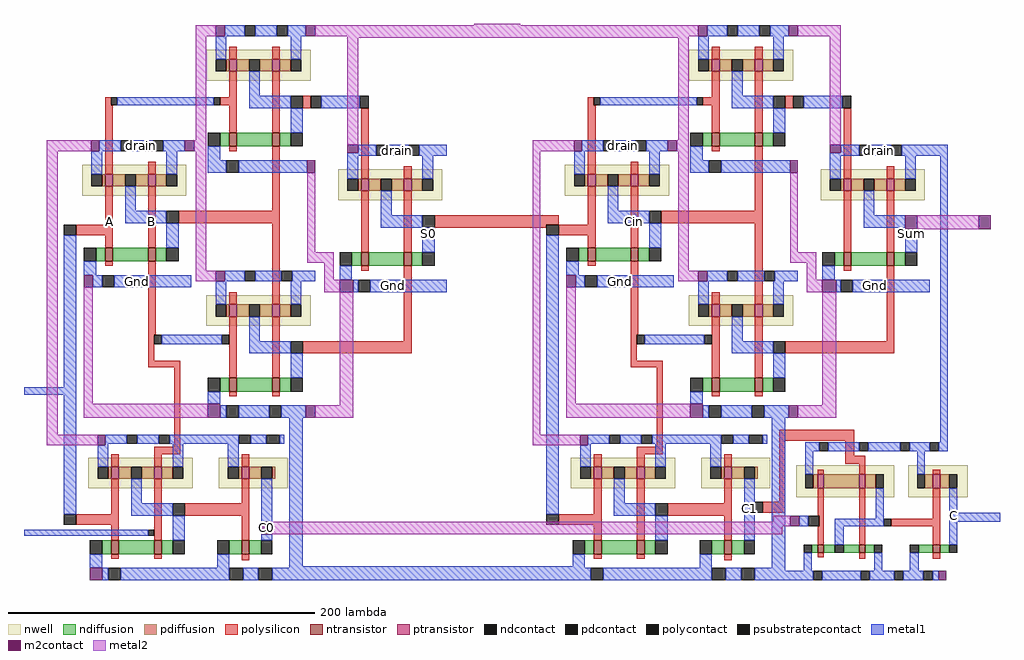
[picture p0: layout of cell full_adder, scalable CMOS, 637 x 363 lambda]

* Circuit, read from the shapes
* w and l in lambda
.subckt full_adder A B C C0 C1 Cin Gnd S0 Sum drain
M1 n1 A Gnd Gnd nfet w=9 l=5
M2 n2 A Gnd Gnd nfet w=9 l=5
M3 n3 B n1 Gnd nfet w=9 l=5
M4 n4 B n2 Gnd nfet w=9 l=5
M5 n5 B Gnd Gnd nfet w=9 l=5
M6 n6 A Gnd Gnd nfet w=9 l=5
M7 C0 n4 Gnd Gnd nfet w=9 l=5
M8 n7 n3 n5 Gnd nfet w=9 l=5
M9 n8 n3 n6 Gnd nfet w=9 l=5
M10 n9 n8 Gnd Gnd nfet w=9 l=5
M11 S0 n7 n9 Gnd nfet w=9 l=5
M12 n10 S0 Gnd Gnd nfet w=9 l=5
M13 n11 S0 Gnd Gnd nfet w=9 l=5
M14 n12 Cin n10 Gnd nfet w=9 l=5
M15 n13 Cin n11 Gnd nfet w=9 l=5
M16 n14 Cin Gnd Gnd nfet w=9 l=5
M17 n15 S0 Gnd Gnd nfet w=9 l=5
M18 C1 n13 Gnd Gnd nfet w=9 l=5
M19 n16 n12 n14 Gnd nfet w=9 l=5
M20 n17 n12 n15 Gnd nfet w=9 l=5
M21 n18 C0 Gnd Gnd nfet w=5 l=4
M22 n19 n17 Gnd Gnd nfet w=9 l=5
M23 Gnd C1 n18 Gnd nfet w=5 l=4
M24 Sum n16 n19 Gnd nfet w=9 l=5
M25 C n18 Gnd Gnd nfet w=5 l=5
M26 n3 A drain n20 pfet w=8 l=5
M27 n4 A drain n21 pfet w=8 l=5
M28 drain B n3 n20 pfet w=8 l=5
M29 drain B n4 n21 pfet w=8 l=5
M30 n7 B drain n22 pfet w=8 l=5
M31 n8 A drain n23 pfet w=8 l=5
M32 C0 n4 drain n24 pfet w=8 l=5
M33 drain n3 n7 n22 pfet w=8 l=5
M34 drain n3 n8 n23 pfet w=8 l=5
M35 S0 n8 drain n25 pfet w=8 l=5
M36 drain n7 S0 n25 pfet w=8 l=5
M37 n12 S0 drain n26 pfet w=8 l=5
M38 n13 S0 drain n27 pfet w=8 l=5
M39 drain Cin n12 n26 pfet w=8 l=5
M40 drain Cin n13 n27 pfet w=8 l=5
M41 n16 Cin drain n28 pfet w=8 l=5
M42 n17 S0 drain n29 pfet w=8 l=5
M43 C1 n13 drain n30 pfet w=8 l=5
M44 drain n12 n16 n28 pfet w=8 l=5
M45 drain n12 n17 n29 pfet w=8 l=5
M46 n31 C0 drain n32 pfet w=9 l=4
M47 Sum n17 drain n33 pfet w=8 l=5
M48 n18 C1 n31 n32 pfet w=9 l=4
M49 drain n16 Sum n33 pfet w=8 l=5
M50 C n18 drain n34 pfet w=9 l=5
.ends

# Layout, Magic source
magic
tech scmos
<< nwell >>
rect 790 405 858 425
rect 1105 405 1173 425
rect 709 330 777 350
rect 876 327 944 347
rect 1024 330 1092 350
rect 1191 327 1259 347
rect 790 245 858 265
rect 1105 245 1173 265
rect 713 139 781 159
rect 798 139 843 159
rect 1028 139 1096 159
rect 1113 139 1158 159
rect 1175 133 1239 154
rect 1248 133 1287 154
<< ntransistor >>
rect 805 362 810 371
rect 833 362 838 371
rect 1120 362 1125 371
rect 1148 362 1153 371
rect 724 287 729 296
rect 752 287 757 296
rect 891 284 896 293
rect 919 284 924 293
rect 1039 287 1044 296
rect 1067 287 1072 296
rect 1206 284 1211 293
rect 1234 284 1239 293
rect 805 202 810 211
rect 833 202 838 211
rect 1120 202 1125 211
rect 1148 202 1153 211
rect 728 96 733 105
rect 756 96 761 105
rect 813 96 818 105
rect 1043 96 1048 105
rect 1071 96 1076 105
rect 1128 96 1133 105
rect 1189 97 1193 102
rect 1216 97 1220 102
rect 1264 97 1269 102
<< ptransistor >>
rect 805 411 810 419
rect 833 411 838 419
rect 1120 411 1125 419
rect 1148 411 1153 419
rect 724 336 729 344
rect 752 336 757 344
rect 891 333 896 341
rect 919 333 924 341
rect 1039 336 1044 344
rect 1067 336 1072 344
rect 1206 333 1211 341
rect 1234 333 1239 341
rect 805 251 810 259
rect 833 251 838 259
rect 1120 251 1125 259
rect 1148 251 1153 259
rect 728 145 733 153
rect 756 145 761 153
rect 813 145 818 153
rect 1043 145 1048 153
rect 1071 145 1076 153
rect 1128 145 1133 153
rect 1189 139 1193 148
rect 1216 139 1220 148
rect 1264 139 1269 148
<< ndiffusion >>
rect 799 362 805 371
rect 810 362 833 371
rect 838 362 845 371
rect 1114 362 1120 371
rect 1125 362 1148 371
rect 1153 362 1160 371
rect 718 287 724 296
rect 729 287 752 296
rect 757 287 764 296
rect 885 284 891 293
rect 896 284 919 293
rect 924 284 931 293
rect 1033 287 1039 296
rect 1044 287 1067 296
rect 1072 287 1079 296
rect 1200 284 1206 293
rect 1211 284 1234 293
rect 1239 284 1246 293
rect 799 202 805 211
rect 810 202 833 211
rect 838 202 845 211
rect 1114 202 1120 211
rect 1125 202 1148 211
rect 1153 202 1160 211
rect 722 96 728 105
rect 733 96 756 105
rect 761 96 768 105
rect 805 96 813 105
rect 818 96 826 105
rect 1037 96 1043 105
rect 1048 96 1071 105
rect 1076 96 1083 105
rect 1120 96 1128 105
rect 1133 96 1141 105
rect 1185 97 1189 102
rect 1193 97 1200 102
rect 1206 97 1216 102
rect 1220 97 1226 102
rect 1255 97 1264 102
rect 1269 97 1275 102
<< pdiffusion >>
rect 803 411 805 419
rect 810 411 818 419
rect 825 411 833 419
rect 838 411 845 419
rect 1118 411 1120 419
rect 1125 411 1133 419
rect 1140 411 1148 419
rect 1153 411 1160 419
rect 722 336 724 344
rect 729 336 737 344
rect 744 336 752 344
rect 757 336 764 344
rect 889 333 891 341
rect 896 333 904 341
rect 911 333 919 341
rect 924 333 931 341
rect 1037 336 1039 344
rect 1044 336 1052 344
rect 1059 336 1067 344
rect 1072 336 1079 344
rect 1204 333 1206 341
rect 1211 333 1219 341
rect 1226 333 1234 341
rect 1239 333 1246 341
rect 803 251 805 259
rect 810 251 818 259
rect 825 251 833 259
rect 838 251 845 259
rect 1118 251 1120 259
rect 1125 251 1133 259
rect 1140 251 1148 259
rect 1153 251 1160 259
rect 726 145 728 153
rect 733 145 741 153
rect 748 145 756 153
rect 761 145 768 153
rect 811 145 813 153
rect 818 145 826 153
rect 833 145 835 153
rect 1041 145 1043 153
rect 1048 145 1056 153
rect 1063 145 1071 153
rect 1076 145 1083 153
rect 1126 145 1128 153
rect 1133 145 1141 153
rect 1148 145 1150 153
rect 1186 139 1189 148
rect 1193 139 1216 148
rect 1220 139 1227 148
rect 1259 139 1264 148
rect 1269 139 1275 148
<< ndcontact >>
rect 815 434 822 441
rect 836 434 843 441
rect 1130 434 1137 441
rect 1151 434 1158 441
rect 734 359 741 366
rect 755 359 762 366
rect 791 362 799 371
rect 845 362 853 371
rect 901 356 908 363
rect 922 356 929 363
rect 1049 359 1056 366
rect 1070 359 1077 366
rect 1106 362 1114 371
rect 1160 362 1168 371
rect 710 287 718 296
rect 764 287 772 296
rect 815 274 822 281
rect 1216 356 1223 363
rect 1237 356 1244 363
rect 877 284 885 293
rect 931 284 939 293
rect 1025 287 1033 296
rect 1079 287 1087 296
rect 839 274 846 281
rect 738 168 745 174
rect 759 168 766 174
rect 1130 274 1137 281
rect 1192 284 1200 293
rect 1246 284 1254 293
rect 1154 274 1161 281
rect 791 202 799 211
rect 845 202 853 211
rect 811 168 819 174
rect 829 168 838 174
rect 1053 168 1060 174
rect 1074 168 1081 174
rect 1106 202 1114 211
rect 1160 202 1168 211
rect 1126 168 1134 174
rect 1144 168 1153 174
rect 1190 163 1196 169
rect 1216 163 1222 169
rect 1243 163 1249 169
rect 1262 163 1268 169
rect 714 96 722 105
rect 768 96 776 105
rect 797 96 805 105
rect 826 96 833 105
rect 1029 96 1037 105
rect 1083 96 1091 105
rect 1112 96 1120 105
rect 1141 96 1148 105
rect 1180 97 1185 102
rect 1200 97 1206 102
rect 1226 97 1231 102
rect 1249 97 1255 102
rect 1275 97 1280 102
<< pdcontact >>
rect 796 411 803 419
rect 818 411 825 419
rect 845 411 852 419
rect 1111 411 1118 419
rect 1133 411 1140 419
rect 1160 411 1167 419
rect 715 336 722 344
rect 737 336 744 344
rect 764 336 771 344
rect 882 333 889 341
rect 904 333 911 341
rect 931 333 938 341
rect 1030 336 1037 344
rect 1052 336 1059 344
rect 1079 336 1086 344
rect 1197 333 1204 341
rect 1219 333 1226 341
rect 1246 333 1253 341
rect 796 251 803 259
rect 818 251 825 259
rect 845 251 852 259
rect 1111 251 1118 259
rect 1133 251 1140 259
rect 1160 251 1167 259
rect 719 145 726 153
rect 741 145 748 153
rect 768 145 775 153
rect 804 145 811 153
rect 826 145 833 153
rect 1034 145 1041 153
rect 1056 145 1063 153
rect 1083 145 1090 153
rect 1119 145 1126 153
rect 1141 145 1148 153
rect 1181 139 1186 148
rect 1227 139 1232 148
rect 1254 139 1259 148
rect 1275 139 1280 148
rect 1186 79 1192 85
rect 1217 79 1223 85
rect 1239 79 1245 85
rect 1258 79 1264 85
<< psubstratepcontact >>
rect 803 345 811 353
rect 1118 345 1126 353
rect 722 270 730 278
rect 889 267 897 275
rect 1037 270 1045 278
rect 1204 267 1212 275
rect 803 185 811 193
rect 831 185 839 193
rect 1118 185 1126 193
rect 1146 185 1154 193
rect 726 79 734 87
rect 805 79 814 87
rect 824 79 833 87
rect 1041 79 1049 87
rect 1120 79 1129 87
rect 1139 79 1148 87
<< polysilicon >>
rect 805 419 810 427
rect 833 419 838 427
rect 1120 419 1125 427
rect 1148 419 1153 427
rect 805 394 810 411
rect 724 389 728 394
rect 799 389 810 394
rect 724 344 729 389
rect 805 371 810 389
rect 833 371 838 411
rect 853 387 858 395
rect 1120 394 1125 411
rect 805 359 810 362
rect 752 344 757 352
rect 724 311 729 336
rect 705 304 729 311
rect 724 296 729 304
rect 752 296 757 336
rect 833 320 838 362
rect 891 341 896 387
rect 1039 389 1043 394
rect 1114 389 1125 394
rect 919 341 924 349
rect 1039 344 1044 389
rect 1120 371 1125 389
rect 1148 371 1153 411
rect 1168 387 1173 395
rect 1120 359 1125 362
rect 1067 344 1072 352
rect 772 312 838 320
rect 724 284 729 287
rect 752 239 757 287
rect 805 259 810 267
rect 833 259 838 312
rect 891 293 896 333
rect 919 293 924 333
rect 939 311 1020 317
rect 1039 311 1044 336
rect 939 309 1012 311
rect 1020 304 1044 311
rect 1039 296 1044 304
rect 1067 296 1072 336
rect 1148 320 1153 362
rect 1206 341 1211 387
rect 1234 341 1239 349
rect 1087 312 1153 320
rect 1039 284 1044 287
rect 891 281 896 284
rect 752 222 756 239
rect 752 218 773 222
rect 769 166 773 218
rect 805 211 810 251
rect 833 211 838 251
rect 919 235 924 284
rect 853 227 924 235
rect 1067 239 1072 287
rect 1120 259 1125 267
rect 1148 259 1153 312
rect 1206 293 1211 333
rect 1234 293 1239 333
rect 1206 281 1211 284
rect 1067 222 1071 239
rect 1067 218 1088 222
rect 805 199 810 202
rect 833 199 838 202
rect 1084 166 1088 218
rect 1120 211 1125 251
rect 1148 211 1153 251
rect 1234 235 1239 284
rect 1168 227 1239 235
rect 1120 199 1125 202
rect 1148 199 1153 202
rect 1164 170 1213 177
rect 756 161 773 166
rect 1071 161 1088 166
rect 728 153 733 161
rect 756 153 761 161
rect 813 153 818 161
rect 1043 153 1048 161
rect 1071 153 1076 161
rect 1128 153 1133 161
rect 728 122 733 145
rect 705 115 733 122
rect 728 105 733 115
rect 756 105 761 145
rect 813 129 818 145
rect 776 121 818 129
rect 1043 122 1048 145
rect 813 105 818 121
rect 1020 115 1048 122
rect 1043 105 1048 115
rect 1071 105 1076 145
rect 1128 129 1133 145
rect 1164 130 1168 170
rect 1207 160 1213 170
rect 1207 155 1220 160
rect 1189 148 1193 151
rect 1216 148 1220 155
rect 1264 148 1269 151
rect 1091 121 1133 129
rect 1153 123 1168 130
rect 1189 121 1193 139
rect 1128 105 1133 121
rect 1190 114 1193 121
rect 1189 102 1193 114
rect 1216 102 1220 139
rect 1264 119 1269 139
rect 1237 114 1269 119
rect 1264 102 1269 114
rect 728 93 733 96
rect 756 93 761 96
rect 813 92 818 96
rect 1043 93 1048 96
rect 1071 93 1076 96
rect 1128 92 1133 96
rect 1189 94 1193 97
rect 1216 93 1220 97
rect 1264 93 1269 97
<< polycontact >>
rect 728 389 732 394
rect 795 389 799 394
rect 845 387 853 395
rect 858 387 865 395
rect 890 387 896 395
rect 697 304 705 311
rect 1043 389 1047 394
rect 1110 389 1114 394
rect 1160 387 1168 395
rect 1173 387 1180 395
rect 1205 387 1211 395
rect 764 312 772 320
rect 931 309 939 317
rect 1012 304 1020 311
rect 1079 312 1087 320
rect 756 233 761 239
rect 800 233 805 239
rect 845 227 853 235
rect 1071 233 1076 239
rect 1115 233 1120 239
rect 1160 227 1168 235
rect 697 115 705 122
rect 752 108 756 112
rect 768 121 776 129
rect 1012 115 1020 122
rect 1083 121 1091 129
rect 1148 123 1153 130
rect 1183 114 1190 121
rect 1232 114 1237 119
<< metal1 >>
rect 802 434 815 441
rect 822 434 836 441
rect 843 434 855 441
rect 1117 434 1130 441
rect 1137 434 1151 441
rect 1158 434 1170 441
rect 796 419 803 434
rect 845 419 852 434
rect 1111 419 1118 434
rect 1160 419 1167 434
rect 818 395 825 411
rect 1133 395 1140 411
rect 732 389 795 394
rect 818 387 845 395
rect 865 387 890 395
rect 1047 389 1110 394
rect 1133 387 1160 395
rect 1180 387 1205 395
rect 845 371 853 387
rect 1160 371 1168 387
rect 720 359 734 366
rect 741 359 755 366
rect 762 359 776 366
rect 715 344 722 359
rect 764 344 771 359
rect 791 353 799 362
rect 889 358 901 363
rect 882 356 901 358
rect 908 356 922 363
rect 929 356 947 363
rect 1035 359 1049 366
rect 1056 359 1070 366
rect 1077 359 1091 366
rect 791 345 803 353
rect 811 345 856 353
rect 882 341 889 356
rect 931 341 938 356
rect 737 320 744 336
rect 1030 344 1037 359
rect 1079 344 1086 359
rect 1106 353 1114 362
rect 1204 358 1216 363
rect 1197 356 1216 358
rect 1223 356 1237 363
rect 1244 356 1274 363
rect 1106 345 1118 353
rect 1126 345 1171 353
rect 1197 341 1204 356
rect 1246 341 1253 356
rect 737 312 764 320
rect 697 205 705 304
rect 764 296 772 312
rect 904 317 911 333
rect 1052 320 1059 336
rect 904 309 931 317
rect 1052 312 1079 320
rect 931 293 939 309
rect 710 278 718 287
rect 716 270 722 278
rect 730 270 780 278
rect 802 274 815 281
rect 822 274 839 281
rect 846 274 861 281
rect 877 275 885 284
rect 796 259 803 274
rect 845 259 852 274
rect 886 267 889 275
rect 897 267 947 275
rect 761 233 800 239
rect 818 235 825 251
rect 818 227 845 235
rect 845 211 853 227
rect 671 200 705 205
rect 697 122 705 200
rect 791 194 799 202
rect 799 185 803 193
rect 811 185 831 193
rect 839 185 855 193
rect 724 168 738 174
rect 745 168 759 174
rect 766 168 811 174
rect 819 168 829 174
rect 838 168 841 174
rect 724 167 726 168
rect 719 153 726 167
rect 768 153 775 168
rect 804 153 811 168
rect 741 129 748 145
rect 741 121 768 129
rect 671 108 752 112
rect 768 105 776 121
rect 826 117 833 145
rect 826 105 833 109
rect 714 87 722 96
rect 797 87 805 96
rect 844 88 853 185
rect 1012 122 1020 304
rect 1079 296 1087 312
rect 1219 317 1226 333
rect 1219 309 1246 317
rect 1246 293 1254 308
rect 1025 278 1033 287
rect 1031 270 1037 278
rect 1045 270 1095 278
rect 1117 274 1130 281
rect 1137 274 1154 281
rect 1161 274 1176 281
rect 1192 275 1200 284
rect 1111 259 1118 274
rect 1160 259 1167 274
rect 1201 267 1204 275
rect 1212 267 1262 275
rect 1076 233 1115 239
rect 1133 235 1140 251
rect 1133 227 1160 235
rect 1160 211 1168 227
rect 1106 194 1114 202
rect 1114 185 1118 193
rect 1126 185 1146 193
rect 1154 185 1170 193
rect 1039 168 1053 174
rect 1060 168 1074 174
rect 1081 168 1126 174
rect 1134 168 1144 174
rect 1153 168 1156 174
rect 1039 167 1041 168
rect 1034 153 1041 167
rect 1083 153 1090 168
rect 1119 153 1126 168
rect 1056 129 1063 145
rect 1056 121 1083 129
rect 1083 105 1091 121
rect 1141 105 1148 145
rect 1029 88 1037 96
rect 844 87 1037 88
rect 1112 87 1120 96
rect 1159 87 1168 185
rect 1269 169 1274 356
rect 1181 163 1190 169
rect 1196 163 1216 169
rect 1222 163 1243 169
rect 1249 163 1262 169
rect 1268 163 1274 169
rect 1181 148 1186 163
rect 1254 148 1259 163
rect 1177 114 1183 121
rect 1227 119 1232 139
rect 1275 123 1280 139
rect 1200 114 1232 119
rect 1275 117 1308 123
rect 1200 102 1206 114
rect 1275 102 1280 117
rect 722 79 726 87
rect 734 79 805 87
rect 814 79 824 87
rect 833 79 1041 87
rect 1049 79 1120 87
rect 1129 79 1139 87
rect 1148 85 1168 87
rect 1180 85 1185 97
rect 1226 85 1231 97
rect 1249 85 1255 97
rect 1148 79 1186 85
rect 1192 79 1217 85
rect 1223 79 1239 85
rect 1245 79 1258 85
rect 1264 79 1268 85
<< m2contact >>
rect 796 434 802 441
rect 855 434 861 441
rect 1111 434 1117 441
rect 1170 434 1176 441
rect 715 359 720 366
rect 776 359 782 366
rect 882 358 889 363
rect 1030 359 1035 366
rect 1091 359 1097 366
rect 856 345 861 353
rect 1197 358 1204 363
rect 1171 345 1176 353
rect 710 270 716 278
rect 796 274 802 281
rect 877 267 886 275
rect 791 185 799 194
rect 855 185 861 193
rect 719 167 724 174
rect 826 109 833 117
rect 1246 308 1254 317
rect 1025 270 1031 278
rect 1111 274 1117 281
rect 1192 267 1201 275
rect 1106 185 1114 194
rect 1170 185 1176 193
rect 1034 167 1039 174
rect 1294 308 1302 317
rect 1171 114 1177 121
rect 714 79 722 87
rect 1268 79 1273 85
<< metal2 >>
rect 965 441 995 442
rect 783 434 796 441
rect 861 434 1111 441
rect 1176 434 1204 441
rect 783 366 790 434
rect 686 359 715 366
rect 782 359 790 366
rect 686 174 693 359
rect 783 281 790 359
rect 882 433 1105 434
rect 882 363 889 433
rect 1098 366 1105 433
rect 1003 359 1030 366
rect 1097 359 1105 366
rect 856 293 861 345
rect 856 286 873 293
rect 783 274 796 281
rect 867 275 873 286
rect 710 194 716 270
rect 867 267 877 275
rect 710 185 791 194
rect 877 193 886 267
rect 861 185 886 193
rect 1003 174 1008 359
rect 1098 281 1105 359
rect 1197 363 1204 434
rect 1171 293 1176 345
rect 1254 308 1294 317
rect 1171 286 1188 293
rect 1098 274 1111 281
rect 1182 275 1188 286
rect 1025 194 1031 270
rect 1182 267 1192 275
rect 1025 185 1106 194
rect 1192 193 1201 267
rect 1176 185 1201 193
rect 686 167 719 174
rect 1003 167 1034 174
rect 1160 117 1171 121
rect 833 114 1171 117
rect 833 109 1166 114
<< labels >>
rlabel metal1 882 356 947 363 5 drain
rlabel metal1 877 267 947 275 1 Gnd
rlabel metal1 710 270 780 278 1 Gnd
rlabel metal1 715 359 780 366 5 drain
rlabel polysilicon 724 296 729 330 1 A
rlabel polysilicon 752 296 757 330 1 B
rlabel metal1 1197 356 1262 363 5 drain
rlabel metal1 1192 267 1262 275 1 Gnd
rlabel metal1 1025 270 1095 278 1 Gnd
rlabel metal1 1030 359 1095 366 5 drain
rlabel metal1 1246 293 1254 317 1 Sum
rlabel polysilicon 1067 296 1072 330 1 Cin
rlabel metal1 931 293 939 317 1 S0
rlabel metal1 1141 122 1148 130 1 C1
rlabel metal1 1275 117 1280 125 1 C
rlabel m2contact 826 109 833 117 1 C0
<< end >>
